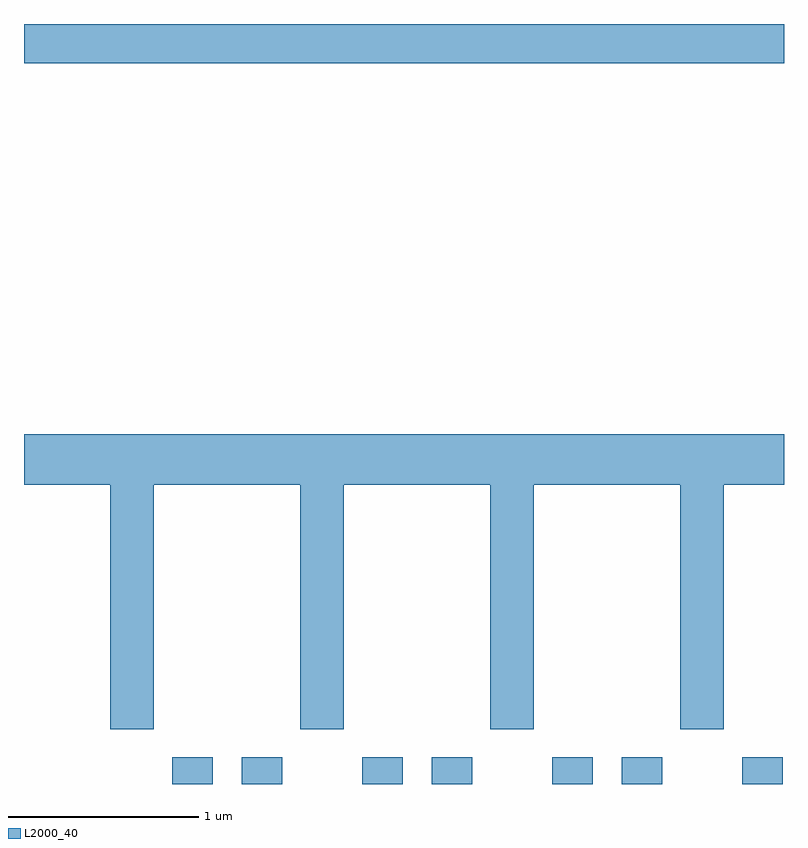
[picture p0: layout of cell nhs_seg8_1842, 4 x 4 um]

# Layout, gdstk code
import gdstk
lib = gdstk.Library(unit=1e-6, precision=1e-09)
def R(c, l, rs):  # rectangles x0, y0, x1, y1
    for r in rs: c.add(gdstk.rectangle(r[:2], r[2:], *l))
def P(c, l, *ps):  # polygons
    for p in ps: c.add(gdstk.Polygon(p, *l))
L2000_40 = (2000, 40)

nhs_seg8_1842 = lib.new_cell('nhs_seg8_1842')
R(nhs_seg8_1842, L2000_40, [(240.391,1890.342,240.604,1890.484), (240.756,1890.342,240.969,1890.484), (241.391,1890.342,241.604,1890.484), (241.756,1890.342,241.969,1890.484), (242.391,1890.342,242.604,1890.484), (242.756,1890.342,242.969,1890.484), (243.391,1890.342,243.604,1890.484), (239.611,1894.136,243.611,1894.342)])
P(nhs_seg8_1842, L2000_40, [(240.294,1891.916),(241.066,1891.916),(241.066,1890.631),(241.294,1890.631),(241.294,1891.916),(242.066,1891.916),(242.066,1890.631),(242.294,1890.631),(242.294,1891.916),(243.066,1891.916),(243.066,1890.631),(243.294,1890.631),(243.294,1891.916),(243.611,1891.916),(243.611,1892.184),(239.611,1892.184),(239.611,1891.916),(240.066,1891.916),(240.066,1890.631),(240.294,1890.631)])

lib.write_gds('nhs_seg8_1842.gds')
